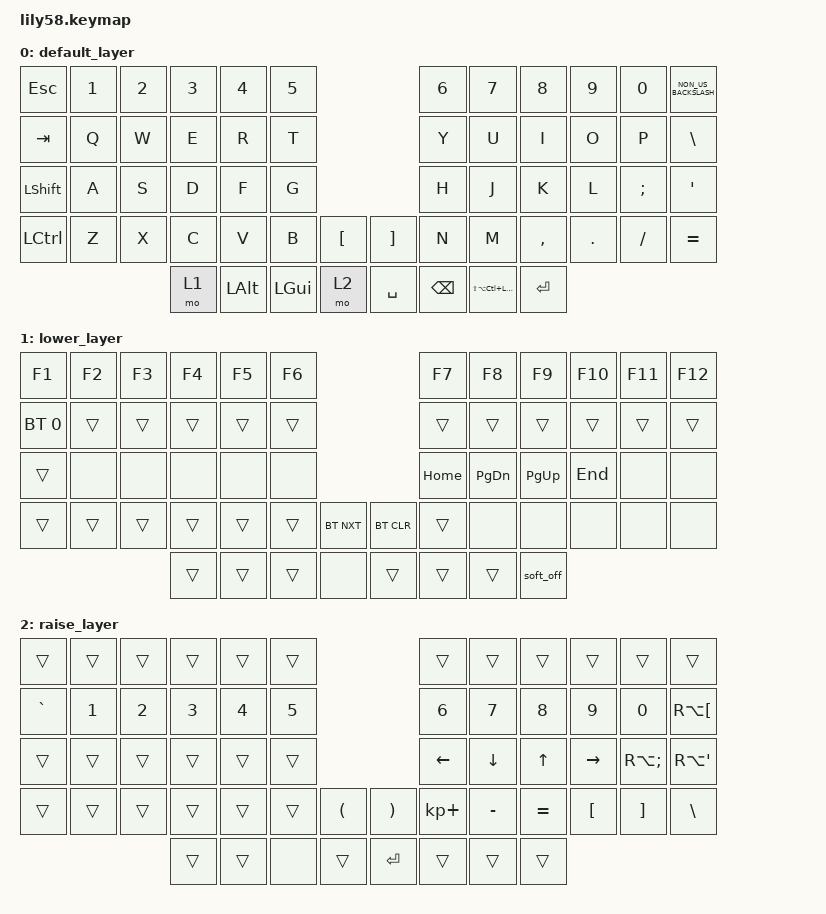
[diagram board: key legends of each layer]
/*
 * Copyright (c) 2020 The ZMK Contributors
 *
 * SPDX-License-Identifier: MIT
 */

#include <behaviors.dtsi>
#include <dt-bindings/zmk/bt.h>
#include <dt-bindings/zmk/keys.h>

/ {
    keymap {
        compatible = "zmk,keymap";

        default_layer {
            bindings = <
&kp ESC         &kp N1  &kp N2  &kp N3  &kp N4    &kp N5                           &kp N6         &kp N7                    &kp N8     &kp N9   &kp N0    &kp NON_US_BACKSLASH
&kp TAB         &kp Q   &kp W   &kp E   &kp R     &kp T                            &kp Y          &kp U                     &kp I      &kp O    &kp P     &kp BACKSLASH
&kp LEFT_SHIFT  &kp A   &kp S   &kp D   &kp F     &kp G                            &kp H          &kp J                     &kp K      &kp L    &kp SEMI  &kp SQT
&kp LCTRL       &kp Z   &kp X   &kp C   &kp V     &kp B     &kp LBKT    &kp RBKT   &kp N          &kp M                     &kp COMMA  &kp DOT  &kp FSLH  &kp EQUAL
                                &mo 1   &kp LALT  &kp LGUI  &mo 2       &kp SPACE  &kp BACKSPACE  &kp LS(LA(LC(LEFT_GUI)))  &kp ENTER
            >;
        };

        lower_layer {
            bindings = <
&kp F1        &kp F2  &kp F3  &kp F4  &kp F5  &kp F6                            &kp F7    &kp F8         &kp F9       &kp F10  &kp F11  &kp F12
&bt BT_SEL 0  &trans  &trans  &trans  &trans  &trans                            &trans    &trans         &trans       &trans   &trans   &trans
&trans        &none   &none   &none   &none   &none                             &kp HOME  &kp PAGE_DOWN  &kp PAGE_UP  &kp END  &none    &none
&trans        &trans  &trans  &trans  &trans  &trans  &bt BT_NXT    &bt BT_CLR  &trans    &none          &none        &none    &none    &none
                              &trans  &trans  &trans  &none         &trans      &trans    &trans         &soft_off
            >;
        };

        raise_layer {
            bindings = <
&trans     &trans  &trans  &trans  &trans  &trans                                                 &trans       &trans     &trans     &trans     &trans             &trans
&kp GRAVE  &kp N1  &kp N2  &kp N3  &kp N4  &kp N5                                                 &kp N6       &kp N7     &kp N8     &kp N9     &kp N0             &kp RA(LEFT_BRACKET)
&trans     &trans  &trans  &trans  &trans  &trans                                                 &kp LEFT     &kp DOWN   &kp UP     &kp RIGHT  &kp RA(SEMICOLON)  &kp RA(SINGLE_QUOTE)
&trans     &trans  &trans  &trans  &trans  &trans  &kp LEFT_PARENTHESIS    &kp RIGHT_PARENTHESIS  &kp KP_PLUS  &kp MINUS  &kp EQUAL  &kp LBKT   &kp RBKT           &kp BSLH
                           &trans  &trans  &none   &trans                  &kp ENTER              &trans       &trans     &trans
            >;
        };
    };
};
